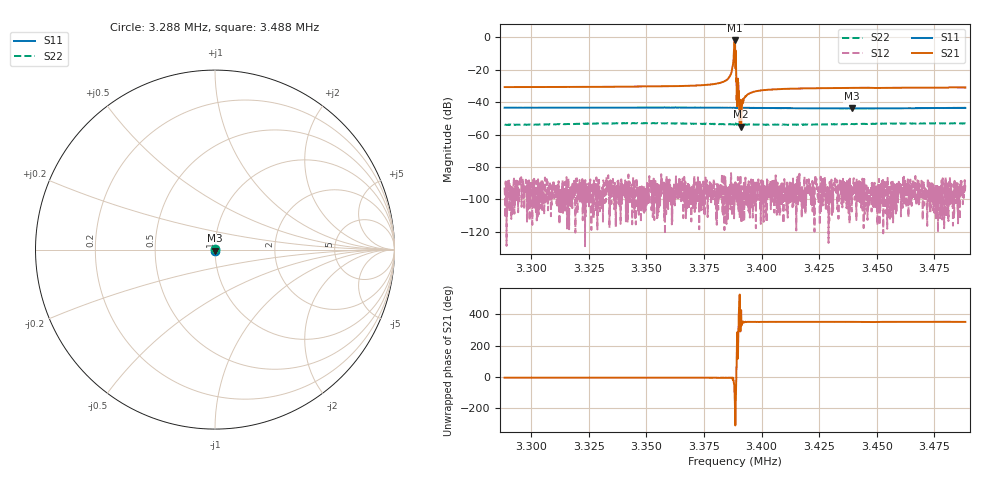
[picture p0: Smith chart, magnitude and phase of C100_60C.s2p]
# Hz S dB R 50.000
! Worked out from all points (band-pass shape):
!   6401 points, 3.288 MHz to 3.488 MHz, reference 50 ohm
!   highest |S21| = -1.85 dB at 3.388 MHz (marker M1); lowest = -55.1 dB at 3.391 MHz (marker M2)
!   |S21| within 3 dB of the highest: 3.38817 MHz to 3.388337 MHz (167.2 Hz wide, 0.00494 % of centre); 3.388376 MHz to 3.388474 MHz (97.38 Hz wide, 0.00287 % of centre)
!   lowest |S11| = -43.9 dB at 3.439 MHz (marker M3), VSWR 1.01, Z = 50 - j0.641 ohm
!   |S11| at or under -10 dB: start of sweep to end of sweep
!   |S22| runs from -54.1 to -52.8 dB; largest |S21 - S12| = 0.81
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3288438  -43.39 -92.0  -30.64 -7.3  -92.67 90.3  -53.79 112.2
3321782  -43.34 -94.0  -30.53 -7.3  -92.60 21.1  -53.39 114.2
3355126  -43.26 -94.2  -30.23 -7.4  -94.99 127.5  -52.95 111.9
3374219  -43.32 -93.1  -29.46 -7.4  -97.33 24.9  -53.27 110.6
3382313  -43.38 -92.5  -27.88 -7.6  -94.79 103.5  -53.56 108.8
3386032  -43.43 -92.5  -24.34 -7.4  -96.86 78.1  -53.52 107.7
3386782  -43.41 -92.4  -22.08 -7.7  -86.10 69.3  -53.67 108.4
3387188  -43.44 -92.2  -19.62 -6.7  -109.93 40.0  -53.58 107.4
3387844  -43.45 -92.3  -12.21 -30.6  -91.68 -29.3  -53.78 108.9
3388126  -43.48 -92.0  -5.19 -57.0  -96.51 -108.8  -53.89 110.9
3388438  -43.45 -92.1  -1.85 168.4  -100.07 66.1  -52.83 106.1
3389032  -43.43 -92.3  -27.11 23.2  -96.63 47.4  -53.73 108.0
3389563  -43.47 -92.2  -28.23 -143.9  -101.15 -166.0  -53.62 107.8
3390157  -43.46 -92.1  -37.02 77.3  -97.14 -94.6  -53.56 107.4
3391126  -43.46 -92.3  -55.14 34.6  -102.78 104.8  -53.57 107.2
3392407  -43.48 -91.9  -37.48 -11.4  -98.25 56.8  -53.76 107.7
3393188  -43.47 -91.8  -36.32 -8.1  -98.35 -40.6  -53.77 108.0
3396844  -43.51 -91.8  -33.52 -8.1  -97.18 119.5  -53.86 106.5
3421782  -43.74 -91.8  -31.41 -7.5  -101.36 -154.2  -53.76 108.9
3439063  -43.86 -91.7  -31.13 -7.6  -95.49 39.5  -53.44 109.8
3455126  -43.79 -91.7  -31.09 -7.7  -93.57 -110.3  -53.27 110.8
3488438  -43.48 -91.0  -30.90 -7.7  -89.68 31.8  -53.03 110.5
